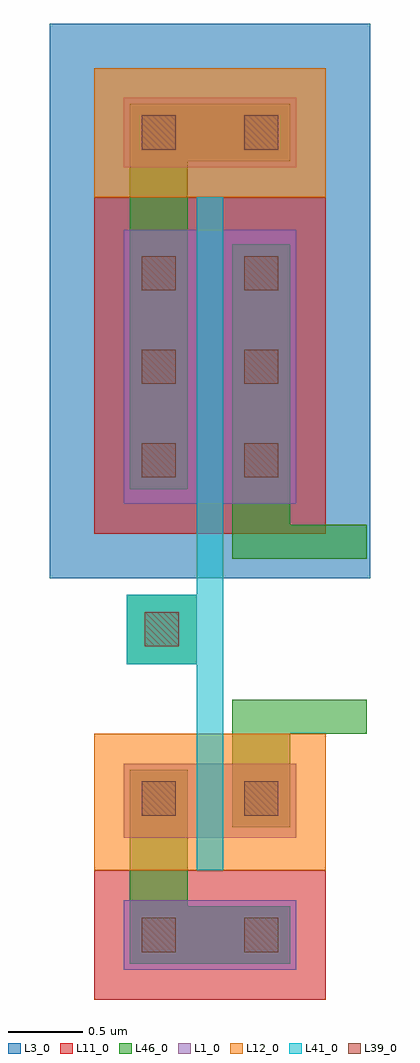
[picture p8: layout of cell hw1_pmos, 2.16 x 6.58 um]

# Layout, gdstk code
import gdstk
lib = gdstk.Library(unit=1e-6, precision=1e-09)
def R(c, l, rs):  # rectangles x0, y0, x1, y1
    for r in rs: c.add(gdstk.rectangle(r[:2], r[2:], *l))
def A(c, l, x, y, w, h, nx, ny, dx, dy):  # array of equal rectangles
    R(c, l, [(x+i*dx, y+j*dy, x+i*dx+w, y+j*dy+h) for i in range(nx) for j in range(ny)])
L1_0 = (1, 0)
L3_0 = (3, 0)
L11_0 = (11, 0)
L12_0 = (12, 0)
L39_0 = (39, 0)
L41_0 = (41, 0)
L46_0 = (46, 0)

hw1_pmos = lib.new_cell('hw1_pmos')
R(hw1_pmos, L1_0, [(0.05,-2.714,1.21,-2.244), (0.05,-1.824,1.21,-1.324), (0.05,0.427,1.21,2.275), (0.05,2.695,1.21,3.165)])
R(hw1_pmos, L3_0, [(-0.45,-0.073,1.71,3.665)])
R(hw1_pmos, L11_0, [(-0.15,-2.914,1.41,-2.044), (-0.15,0.227,1.41,2.495)])
R(hw1_pmos, L12_0, [(-0.15,-2.044,1.41,-1.124), (-0.15,2.495,1.41,3.365)])
A(hw1_pmos, L39_0, 0.17, 0.606, 0.23, 0.23, 1, 3, 0, 0.63)
A(hw1_pmos, L39_0, 0.86, 0.606, 0.23, 0.23, 1, 3, 0, 0.63)
R(hw1_pmos, L39_0, [(0.17,-2.594,0.4,-2.364), (0.86,-2.594,1.09,-2.364), (0.17,-1.674,0.4,-1.444), (0.86,-1.674,1.09,-1.444), (0.19,-0.534,0.42,-0.304), (0.17,2.815,0.4,3.045), (0.86,2.815,1.09,3.045)])
R(hw1_pmos, L41_0, [(0.54,-2.044,0.72,2.495), (0.07,-0.654,0.54,-0.184)])
R(hw1_pmos, L46_0, [(0.09,-2.674,1.17,-2.284), (0.09,-2.674,0.48,-1.364), (0.78,-1.754,1.17,-0.894), (0.78,-1.124,1.685,-0.894), (0.07,-0.654,0.54,-0.184), (0.78,0.056,1.17,2.176), (0.78,0.056,1.685,0.286), (0.09,0.526,0.48,3.125), (0.09,2.735,1.17,3.125)])

lib.write_gds('hw1_pmos.gds')
